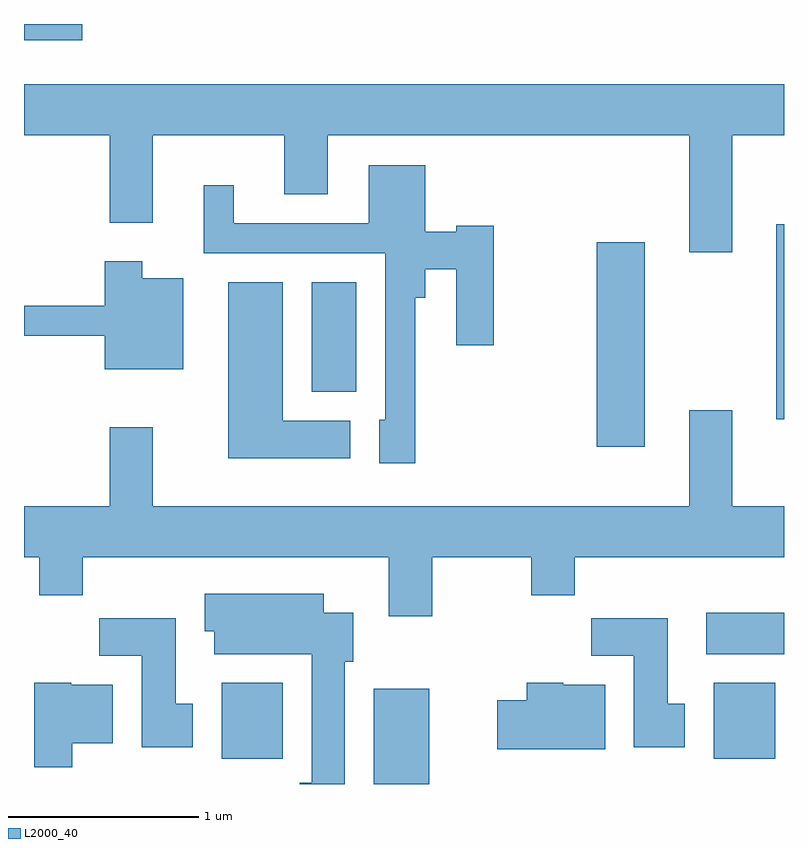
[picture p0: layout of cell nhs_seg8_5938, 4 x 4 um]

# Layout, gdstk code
import gdstk
lib = gdstk.Library(unit=1e-6, precision=1e-09)
def R(c, l, rs):  # rectangles x0, y0, x1, y1
    for r in rs: c.add(gdstk.rectangle(r[:2], r[2:], *l))
def P(c, l, *ps):  # polygons
    for p in ps: c.add(gdstk.Polygon(p, *l))
L2000_40 = (2000, 40)

nhs_seg8_5938 = lib.new_cell('nhs_seg8_5938')
R(nhs_seg8_5938, L2000_40, [(365.451,1826.342,365.744,1826.844), (364.651,1826.476,364.974,1826.874), (367.241,1826.476,367.564,1826.874), (367.201,1827.026,367.611,1827.244), (366.626,1828.116,366.879,1829.194), (367.571,1828.261,367.611,1829.289), (365.126,1828.406,365.359,1828.984), (363.611,1830.256,363.918,1830.342)])
P(nhs_seg8_5938, L2000_40, [(367.339,1829.756),(367.611,1829.756),(367.611,1830.024),(363.611,1830.024),(363.611,1829.756),(364.061,1829.756),(364.061,1829.296),(364.289,1829.296),(364.289,1829.756),(364.981,1829.756),(364.981,1829.446),(365.209,1829.446),(365.209,1829.756),(367.111,1829.756),(367.111,1829.141),(367.339,1829.141)],
  [(365.669,1828.901),(365.724,1828.901),(365.724,1829.051),(365.886,1829.051),(365.886,1828.651),(366.084,1828.651),(366.084,1829.279),(365.886,1829.279),(365.886,1829.249),(365.724,1829.249),(365.724,1829.599),(365.426,1829.599),(365.426,1829.294),(364.714,1829.294),(364.714,1829.493),(364.556,1829.493),(364.556,1829.136),(365.511,1829.136),(365.511,1828.259),(365.481,1828.259),(365.481,1828.031),(365.669,1828.031)],
  [(364.449,1829.004),(364.234,1829.004),(364.234,1829.094),(364.036,1829.094),(364.036,1828.859),(363.611,1828.859),(363.611,1828.701),(364.036,1828.701),(364.036,1828.526),(364.449,1828.526)],
  [(365.329,1828.254),(364.974,1828.254),(364.974,1828.984),(364.686,1828.984),(364.686,1828.056),(365.329,1828.056)],
  [(365.759,1827.536),(366.281,1827.536),(366.281,1827.336),(366.509,1827.336),(366.509,1827.536),(367.611,1827.536),(367.611,1827.804),(367.339,1827.804),(367.339,1828.309),(367.111,1828.309),(367.111,1827.804),(364.289,1827.804),(364.289,1828.219),(364.061,1828.219),(364.061,1827.804),(363.611,1827.804),(363.611,1827.536),(363.691,1827.536),(363.691,1827.336),(363.919,1827.336),(363.919,1827.536),(365.531,1827.536),(365.531,1827.226),(365.759,1827.226)],
  [(365.299,1826.986),(365.344,1826.986),(365.344,1827.244),(365.189,1827.244),(365.189,1827.344),(364.561,1827.344),(364.561,1827.146),(364.611,1827.146),(364.611,1827.026),(365.126,1827.026),(365.126,1826.349),(365.063,1826.349),(365.063,1826.342),(365.299,1826.342)],
  [(367.089,1826.764),(366.999,1826.764),(366.999,1827.214),(366.596,1827.214),(366.596,1827.016),(366.821,1827.016),(366.821,1826.536),(367.089,1826.536)],
  [(364.499,1826.764),(364.409,1826.764),(364.409,1827.214),(364.006,1827.214),(364.006,1827.016),(364.231,1827.016),(364.231,1826.536),(364.499,1826.536)],
  [(366.669,1826.864),(366.45,1826.864),(366.45,1826.874),(366.256,1826.874),(366.256,1826.784),(366.101,1826.784),(366.101,1826.526),(366.669,1826.526)],
  [(363.864,1826.556),(364.079,1826.556),(364.079,1826.864),(363.86,1826.864),(363.86,1826.874),(363.666,1826.874),(363.666,1826.431),(363.864,1826.431)])

lib.write_gds('nhs_seg8_5938.gds')
